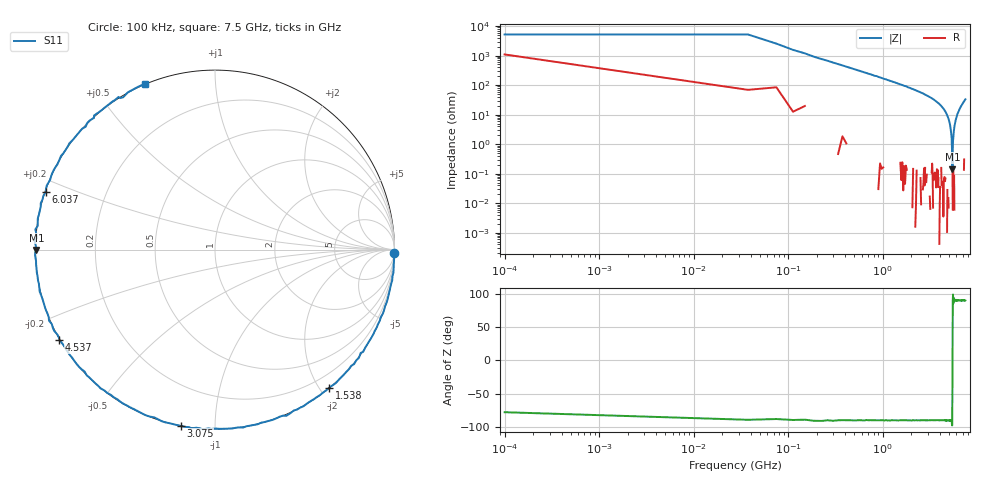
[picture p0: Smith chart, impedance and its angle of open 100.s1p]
# Hz S RI R 50.000000
! FREQ  re:S1  1  im:S1  1
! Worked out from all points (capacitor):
!   201 points, 100 kHz to 7.5 GHz, reference 50 ohm
!   read as one part to ground: C = 832 fF near 37.6 MHz
!   lowest |Z| = 143 mohm at 5.475 GHz (marker M1)
!   series resonance near 5.479 GHz, so ESL is about 1 nH
!   S11 on the Smith chart (normalised r, x): 100 kHz: open; 1.538 GHz: 0.00, -2.12; 3.075 GHz: -0.00, -0.82; 4.537 GHz: -0.00, -0.27; 6.037 GHz: 0.00, +0.17; 7.5 GHz: 0.00, +0.66
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100000  0.9958 -0.0187
3.7599e7  0.9996 -0.0192
4.87587e8  0.9623 -0.2747
9.37575e8  0.8605 -0.5083
1.200068e9  0.7759 -0.6374
1.537559e9  0.6354 -0.77
1.762553e9  0.543 -0.8377
1.87505e9  0.4761 -0.8798
2.025046e9  0.3969 -0.9261
2.325038e9  0.2375 -0.9732
2.812525e9  -0.0369 -0.9961
3.075018e9  -0.1911 -0.9823
3.450008e9  -0.394 -0.9193
3.75e9  -0.5433 -0.8343
4.12499e9  -0.7151 -0.7
4.537479e9  -0.867 -0.5034
4.687475e9  -0.9042 -0.4346
5.062465e9  -0.9765 -0.2354
5.474954e9  -0.995 -0.00272
5.62495e9  -0.9957 0.0888
6.037439e9  -0.9439 0.3213
6.562425e9  -0.8115 0.5916
6.899916e9  -0.6741 0.7338
6.937415e9  -0.6741 0.7471
7.12491e9  -0.568 0.8279
7.274906e9  -0.5113 0.8487
7.312405e9  -0.4853 0.8763
7.4999e9  -0.3894 0.9209
